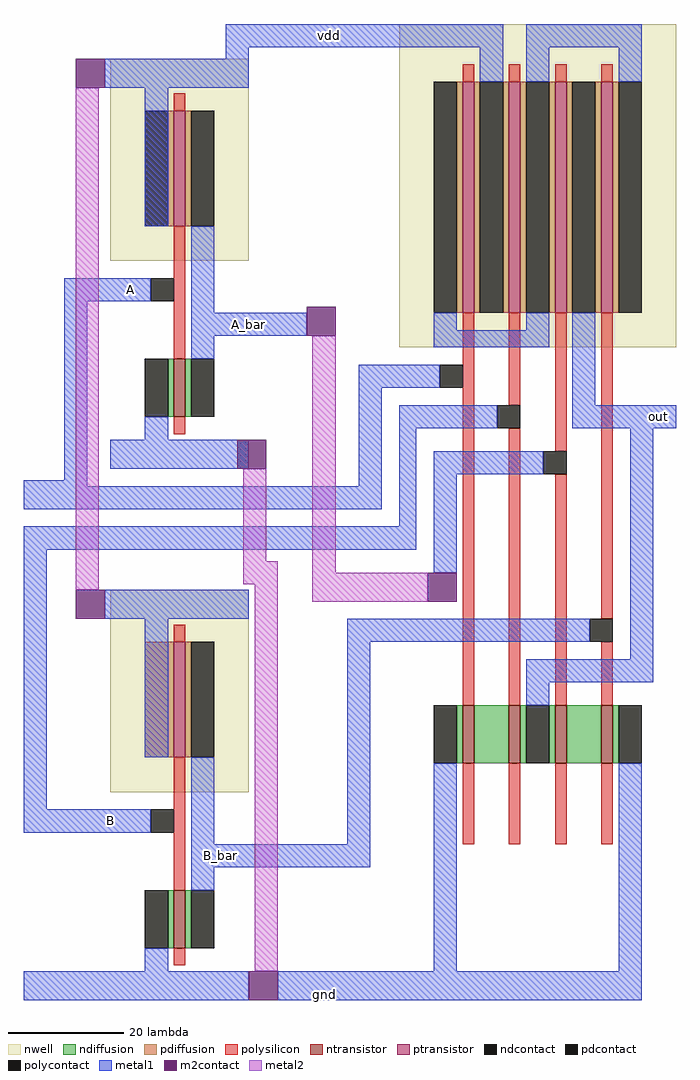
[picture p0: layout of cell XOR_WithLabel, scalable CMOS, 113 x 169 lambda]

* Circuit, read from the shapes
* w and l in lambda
.subckt XOR_WithLabel A A_bar B B_bar gnd out vdd
M1 B_bar B gnd VSUBS nfet w=10 l=2
M2 A_bar A gnd VSUBS nfet w=10 l=2
M3 n1 A gnd VSUBS nfet w=10 l=2
M4 out B n1 VSUBS nfet w=10 l=2
M5 n2 A_bar out VSUBS nfet w=10 l=2
M6 gnd B_bar n2 VSUBS nfet w=10 l=2
M7 B_bar B n3 n4 pfet w=20 l=2
M8 A_bar A vdd n5 pfet w=20 l=2
M9 vdd A n6 n7 pfet w=40 l=2
M10 n6 B vdd n7 pfet w=40 l=2
M11 out A_bar n6 n7 pfet w=40 l=2
M12 n6 B_bar out n7 pfet w=40 l=2
.ends

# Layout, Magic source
magic
tech scmos
<< nwell >>
rect 50 21 98 77
<< ntransistor >>
rect 61 -51 63 -41
rect 69 -51 71 -41
rect 77 -51 79 -41
rect 85 -51 87 -41
<< ptransistor >>
rect 61 27 63 67
rect 69 27 71 67
rect 77 27 79 67
rect 85 27 87 67
<< ndiffusion >>
rect 60 -51 61 -41
rect 63 -51 69 -41
rect 71 -51 72 -41
rect 76 -51 77 -41
rect 79 -51 85 -41
rect 87 -51 88 -41
<< pdiffusion >>
rect 60 27 61 67
rect 63 27 64 67
rect 68 27 69 67
rect 71 27 72 67
rect 76 27 77 67
rect 79 27 80 67
rect 84 27 85 67
rect 87 27 88 67
<< ndcontact >>
rect 56 -51 60 -41
rect 72 -51 76 -41
rect 88 -51 92 -41
<< pdcontact >>
rect 6 42 10 62
rect 56 27 60 67
rect 64 27 68 67
rect 72 27 76 67
rect 80 27 84 67
rect 88 27 92 67
<< polysilicon >>
rect 61 67 63 70
rect 69 67 71 70
rect 77 67 79 70
rect 85 67 87 70
rect 61 -41 63 27
rect 69 11 71 27
rect 69 -41 71 7
rect 77 3 79 27
rect 77 -41 79 -1
rect 85 -26 87 27
rect 85 -41 87 -30
rect 61 -65 63 -51
rect 69 -65 71 -51
rect 77 -65 79 -51
rect 85 -65 87 -51
<< polycontact >>
rect 57 14 61 18
rect 67 7 71 11
rect 75 -1 79 3
rect 83 -30 87 -26
<< metal1 >>
rect 20 73 68 77
rect 20 71 24 73
rect -1 66 24 71
rect 64 67 68 73
rect -8 29 7 33
rect -8 -2 -4 29
rect 14 23 34 27
rect 72 73 92 77
rect 72 67 76 73
rect 88 67 92 73
rect 56 24 60 27
rect 72 24 76 27
rect 56 21 76 24
rect 43 14 57 18
rect 0 0 22 5
rect -15 -3 -4 -2
rect 43 -3 47 14
rect 80 11 84 27
rect -15 -7 47 -3
rect 50 7 67 11
rect 80 7 98 11
rect 50 -10 53 7
rect -15 -14 53 -10
rect 56 -1 75 3
rect -15 -59 -11 -14
rect 56 -18 60 -1
rect -1 -26 24 -21
rect 41 -30 83 -26
rect -15 -63 7 -59
rect 41 -65 45 -30
rect 90 -33 94 7
rect 72 -37 94 -33
rect 72 -41 76 -37
rect 14 -69 45 -65
rect 56 -87 60 -51
rect 88 -87 92 -51
rect -15 -92 24 -87
rect 29 -92 92 -87
<< m2contact >>
rect -6 66 -1 71
rect 34 23 39 28
rect 22 0 27 5
rect -6 -26 -1 -21
rect 55 -23 60 -18
rect 24 -92 29 -87
<< metal2 >>
rect -6 -21 -2 66
rect 23 -16 27 0
rect 23 -20 29 -16
rect 25 -87 29 -20
rect 35 -18 39 23
rect 35 -23 55 -18
use 2INV  2INV_0
transform 1 0 0 0 1 -45
box 0 45 24 116
use 2INV  2INV_1
transform 1 0 0 0 1 -137
box 0 45 24 116
<< labels >>
rlabel metal1 95 9 95 9 7 out
rlabel metal1 37 -91 37 -91 1 gnd
rlabel metal1 38 75 38 75 5 vdd
rlabel metal1 14 23 34 27 1 A_bar
rlabel metal1 0 -61 0 -61 1 B
rlabel metal1 19 -67 19 -67 1 B_bar
rlabel metal1 1 29 6 33 1 A
<< end >>

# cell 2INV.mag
magic
tech scmos
<< nwell >>
rect 0 81 24 116
<< ntransistor >>
rect 11 54 13 64
<< ptransistor >>
rect 11 87 13 107
<< ndiffusion >>
rect 10 54 11 64
rect 13 54 14 64
<< pdiffusion >>
rect 6 87 11 107
rect 13 87 14 107
<< ndcontact >>
rect 6 54 10 64
rect 14 54 18 64
<< pdcontact >>
rect 14 87 18 107
<< polysilicon >>
rect 11 107 13 110
rect 11 64 13 87
rect 11 51 13 54
<< polycontact >>
rect 7 74 11 78
<< metal1 >>
rect 0 111 24 116
rect 6 87 10 111
rect 0 74 7 78
rect 14 72 18 87
rect 14 68 24 72
rect 14 64 18 68
rect 6 50 10 54
rect 0 45 24 50
<< end >>
